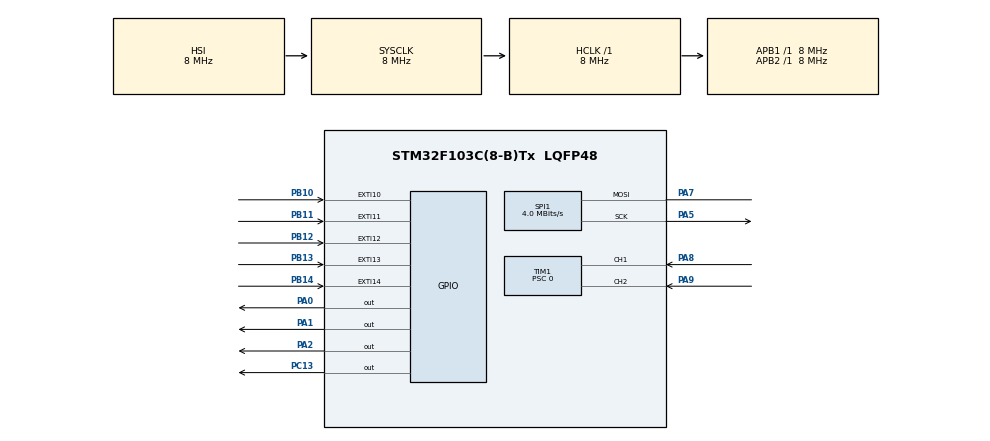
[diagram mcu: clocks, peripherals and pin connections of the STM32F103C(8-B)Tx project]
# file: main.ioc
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Mcu.Family=STM32F1
Mcu.Name=STM32F103C(8-B)Tx
Mcu.Package=LQFP48
NVIC.EXTI15_10_IRQn=true\:0\:0\:false\:false\:true\:true
NVIC.PriorityGroup=NVIC_PRIORITYGROUP_4
PA0-WKUP.Signal=GPIO_Output
PA1.GPIO_PuPd=GPIO_PULLUP
PA1.Signal=GPIO_Output
PA13.Mode=Serial_Wire
PA13.Signal=SYS_JTMS-SWDIO
PA14.Mode=Serial_Wire
PA14.Signal=SYS_JTCK-SWCLK
PA2.Signal=GPIO_Output
PA5.Mode=Simplex_Bidirectional_Master
PA5.Signal=SPI1_SCK
PA7.Mode=Simplex_Bidirectional_Master
PA7.Signal=SPI1_MOSI
PA8.GPIO_PuPd=GPIO_PULLUP
PA8.Signal=S_TIM1_CH1
PA9.GPIO_PuPd=GPIO_PULLUP
PA9.Signal=S_TIM1_CH2
PB10.GPIO_PuPd=GPIO_PULLDOWN
PB10.Signal=GPXTI10
PB11.GPIO_PuPd=GPIO_PULLDOWN
PB11.Signal=GPXTI11
PB12.GPIO_PuPd=GPIO_PULLDOWN
PB12.Signal=GPXTI12
PB13.GPIO_PuPd=GPIO_PULLDOWN
PB13.Signal=GPXTI13
PB14.GPIO_PuPd=GPIO_PULLDOWN
PB14.Signal=GPXTI14
PC13-TAMPER-RTC.Signal=GPIO_Output
ProjectManager.HeapSize=0x200
ProjectManager.StackSize=0x400
ProjectManager.TargetToolchain=Makefile
RCC.AHBFreq_Value=8000000
RCC.APB1Freq_Value=8000000
RCC.APB1TimFreq_Value=8000000
RCC.APB2Freq_Value=8000000
RCC.APB2TimFreq_Value=8000000
RCC.HCLKFreq_Value=8000000
RCC.SYSCLKFreq_VALUE=8000000
RCC.USBFreq_Value=8000000
SH.S_TIM1_CH1.0=TIM1_CH1,Encoder_Interface
SH.S_TIM1_CH2.0=TIM1_CH2,Encoder_Interface
SPI1.CalculateBaudRate=4.0 MBits/s
SPI1.Direction=SPI_DIRECTION_1LINE
SPI1.Mode=SPI_MODE_MASTER
SPI1.VirtualType=VM_MASTER
TIM1.ClockDivision=TIM_CLOCKDIVISION_DIV1
TIM1.CounterMode=TIM_COUNTERMODE_UP
TIM1.EncoderMode=TIM_ENCODERMODE_TI1
TIM1.IC1Filter=0
TIM1.IC2Filter=0
TIM1.Period=65535
TIM1.Prescaler=0
board=stm32-rotary-encoder

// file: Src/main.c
/* USER CODE BEGIN Header */
/**
  ******************************************************************************
  * @file           : main.c
  * @brief          : Main program body
  ******************************************************************************
  ** This notice applies to any and all portions of this file
  * that are not between comment pairs USER CODE BEGIN and
  * USER CODE END. Other portions of this file, whether
  * inserted by the user or by software development tools
  * are owned by their respective copyright owners.
  *
  * COPYRIGHT(c) 2020 STMicroelectronics
  *
  * Redistribution and use in source and binary forms, with or without modification,
  * are permitted provided that the following conditions are met:
  *   1. Redistributions of source code must retain the above copyright notice,
  *      this list of conditions and the following disclaimer.
  *   2. Redistributions in binary form must reproduce the above copyright notice,
  *      this list of conditions and the following disclaimer in the documentation
  *      and/or other materials provided with the distribution.
  *   3. Neither the name of STMicroelectronics nor the names of its contributors
  *      may be used to endorse or promote products derived from this software
  *      without specific prior written permission.
  *
  * THIS SOFTWARE IS PROVIDED BY THE COPYRIGHT HOLDERS AND CONTRIBUTORS "AS IS"
  * AND ANY EXPRESS OR IMPLIED WARRANTIES, INCLUDING, BUT NOT LIMITED TO, THE
  * IMPLIED WARRANTIES OF MERCHANTABILITY AND FITNESS FOR A PARTICULAR PURPOSE ARE
  * DISCLAIMED. IN NO EVENT SHALL THE COPYRIGHT HOLDER OR CONTRIBUTORS BE LIABLE
  * FOR ANY DIRECT, INDIRECT, INCIDENTAL, SPECIAL, EXEMPLARY, OR CONSEQUENTIAL
  * DAMAGES (INCLUDING, BUT NOT LIMITED TO, PROCUREMENT OF SUBSTITUTE GOODS OR
  * SERVICES; LOSS OF USE, DATA, OR PROFITS; OR BUSINESS INTERRUPTION) HOWEVER
  * CAUSED AND ON ANY THEORY OF LIABILITY, WHETHER IN CONTRACT, STRICT LIABILITY,
  * OR TORT (INCLUDING NEGLIGENCE OR OTHERWISE) ARISING IN ANY WAY OUT OF THE USE
  * OF THIS SOFTWARE, EVEN IF ADVISED OF THE POSSIBILITY OF SUCH DAMAGE.
  *
  ******************************************************************************
  */
/* USER CODE END Header */

#include "main.h"

/* USER CODE BEGIN Includes */
#include "st7735.h"
/* USER CODE END Includes */

SPI_HandleTypeDef hspi1;

TIM_HandleTypeDef htim1;

/* USER CODE BEGIN PV */
/* Private variables ---------------------------------------------------------*/

/* USER CODE END PV */

void SystemClock_Config(void);
static void MX_GPIO_Init(void);
static void MX_SPI1_Init(void);
static void MX_TIM1_Init(void);
/* USER CODE BEGIN PFP */
/* Private function prototypes -----------------------------------------------*/

/* USER CODE END PFP */

/* USER CODE BEGIN 0 */

extern volatile uint8_t buttonPressed[5];
int32_t prevCounter = 0;

void init() {
    ST7735_Init();
    ST7735_FillScreen(ST7735_BLACK);
	ST7735_WriteString(0, 26*0, "--------", Font_16x26, ST7735_RED, ST7735_BLACK);
	ST7735_WriteString(0, 26*1, "??????", Font_16x26, ST7735_GREEN, ST7735_BLACK);
	HAL_TIM_Encoder_Start(&htim1, TIM_CHANNEL_ALL);
}

void loop() {
    // Thats annoying
    // HAL_GPIO_TogglePin(GPIOC, GPIO_PIN_13);

	int currCounter = __HAL_TIM_GET_COUNTER(&htim1);
	currCounter = 32767 - ((currCounter-1) & 0xFFFF) / 2;
	if(currCounter != prevCounter) {
		char buff[16];
		snprintf(buff, sizeof(buff), "%06d", currCounter);
		ST7735_WriteString(0, 26*1, buff, Font_16x26, ST7735_GREEN, ST7735_BLACK);
		prevCounter = currCounter;
	}

	uint8_t buttonNumber = 0;
	while(buttonNumber < sizeof(buttonPressed)/sizeof(buttonPressed[0])) {
		if(buttonPressed[buttonNumber]) {
			buttonPressed[buttonNumber] = 0;
			char buff[16];
			snprintf(buff, sizeof(buff), "BUTTON %d", buttonNumber);
			ST7735_WriteString(0, 26*0, buff, Font_16x26, ST7735_RED, ST7735_BLACK);
		}
		buttonNumber++;
	}

    HAL_Delay(100);
}

/* USER CODE END 0 */

int main(void)
{

  /* MCU Configuration--------------------------------------------------------*/

  /* Reset of all peripherals, Initializes the Flash interface and the Systick. */
  HAL_Init();

  /* Configure the system clock */
  SystemClock_Config();

  /* Initialize all configured peripherals */
  MX_GPIO_Init();
  MX_SPI1_Init();
  MX_TIM1_Init();
  /* USER CODE BEGIN 2 */
  init();
  /* USER CODE END 2 */

  /* Infinite loop */
  /* USER CODE BEGIN WHILE */
  while (1)
  {
    loop();
    /* USER CODE END WHILE */

  }
}

void SystemClock_Config(void)
{
  RCC_OscInitTypeDef RCC_OscInitStruct = {0};
  RCC_ClkInitTypeDef RCC_ClkInitStruct = {0};

  /**Initializes the CPU, AHB and APB busses clocks
  */
  RCC_OscInitStruct.OscillatorType = RCC_OSCILLATORTYPE_HSI;
  RCC_OscInitStruct.HSIState = RCC_HSI_ON;
  RCC_OscInitStruct.HSICalibrationValue = RCC_HSICALIBRATION_DEFAULT;
  RCC_OscInitStruct.PLL.PLLState = RCC_PLL_NONE;
  if (HAL_RCC_OscConfig(&RCC_OscInitStruct) != HAL_OK)
  {
    Error_Handler();
  }
  /**Initializes the CPU, AHB and APB busses clocks
  */
  RCC_ClkInitStruct.ClockType = RCC_CLOCKTYPE_HCLK|RCC_CLOCKTYPE_SYSCLK
                              |RCC_CLOCKTYPE_PCLK1|RCC_CLOCKTYPE_PCLK2;
  RCC_ClkInitStruct.SYSCLKSource = RCC_SYSCLKSOURCE_HSI;
  RCC_ClkInitStruct.AHBCLKDivider = RCC_SYSCLK_DIV1;
  RCC_ClkInitStruct.APB1CLKDivider = RCC_HCLK_DIV1;
  RCC_ClkInitStruct.APB2CLKDivider = RCC_HCLK_DIV1;

  if (HAL_RCC_ClockConfig(&RCC_ClkInitStruct, FLASH_LATENCY_0) != HAL_OK)
  {
    Error_Handler();
  }
}

static void MX_SPI1_Init(void)
{

  /* SPI1 parameter configuration*/
  hspi1.Instance = SPI1;
  hspi1.Init.Mode = SPI_MODE_MASTER;
  hspi1.Init.Direction = SPI_DIRECTION_1LINE;
  hspi1.Init.DataSize = SPI_DATASIZE_8BIT;
  hspi1.Init.CLKPolarity = SPI_POLARITY_LOW;
  hspi1.Init.CLKPhase = SPI_PHASE_1EDGE;
  hspi1.Init.NSS = SPI_NSS_SOFT;
  hspi1.Init.BaudRatePrescaler = SPI_BAUDRATEPRESCALER_2;
  hspi1.Init.FirstBit = SPI_FIRSTBIT_MSB;
  hspi1.Init.TIMode = SPI_TIMODE_DISABLE;
  hspi1.Init.CRCCalculation = SPI_CRCCALCULATION_DISABLE;
  hspi1.Init.CRCPolynomial = 10;
  if (HAL_SPI_Init(&hspi1) != HAL_OK)
  {
    Error_Handler();
  }

}

static void MX_TIM1_Init(void)
{

  TIM_Encoder_InitTypeDef sConfig = {0};
  TIM_MasterConfigTypeDef sMasterConfig = {0};

  htim1.Instance = TIM1;
  htim1.Init.Prescaler = 0;
  htim1.Init.CounterMode = TIM_COUNTERMODE_UP;
  htim1.Init.Period = 65535;
  htim1.Init.ClockDivision = TIM_CLOCKDIVISION_DIV1;
  htim1.Init.RepetitionCounter = 0;
  htim1.Init.AutoReloadPreload = TIM_AUTORELOAD_PRELOAD_DISABLE;
  sConfig.EncoderMode = TIM_ENCODERMODE_TI1;
  sConfig.IC1Polarity = TIM_ICPOLARITY_RISING;
  sConfig.IC1Selection = TIM_ICSELECTION_DIRECTTI;
  sConfig.IC1Prescaler = TIM_ICPSC_DIV1;
  sConfig.IC1Filter = 0;
  sConfig.IC2Polarity = TIM_ICPOLARITY_RISING;
  sConfig.IC2Selection = TIM_ICSELECTION_DIRECTTI;
  sConfig.IC2Prescaler = TIM_ICPSC_DIV1;
  sConfig.IC2Filter = 0;
  if (HAL_TIM_Encoder_Init(&htim1, &sConfig) != HAL_OK)
  {
    Error_Handler();
  }
  sMasterConfig.MasterOutputTrigger = TIM_TRGO_RESET;
  sMasterConfig.MasterSlaveMode = TIM_MASTERSLAVEMODE_DISABLE;
  if (HAL_TIMEx_MasterConfigSynchronization(&htim1, &sMasterConfig) != HAL_OK)
  {
    Error_Handler();
  }

}

static void MX_GPIO_Init(void)
{
  GPIO_InitTypeDef GPIO_InitStruct = {0};

  /* GPIO Ports Clock Enable */
  __HAL_RCC_GPIOC_CLK_ENABLE();
  __HAL_RCC_GPIOA_CLK_ENABLE();
  __HAL_RCC_GPIOB_CLK_ENABLE();

  /*Configure GPIO pin Output Level */
  HAL_GPIO_WritePin(GPIOC, GPIO_PIN_13, GPIO_PIN_RESET);

  /*Configure GPIO pin Output Level */
  HAL_GPIO_WritePin(GPIOA, GPIO_PIN_0|GPIO_PIN_1|GPIO_PIN_2, GPIO_PIN_RESET);

  /*Configure GPIO pin : PC13 */
  GPIO_InitStruct.Pin = GPIO_PIN_13;
  GPIO_InitStruct.Mode = GPIO_MODE_OUTPUT_PP;
  GPIO_InitStruct.Pull = GPIO_NOPULL;
  GPIO_InitStruct.Speed = GPIO_SPEED_FREQ_LOW;
  HAL_GPIO_Init(GPIOC, &GPIO_InitStruct);

  /*Configure GPIO pins : PA0 PA2 */
  GPIO_InitStruct.Pin = GPIO_PIN_0|GPIO_PIN_2;
  GPIO_InitStruct.Mode = GPIO_MODE_OUTPUT_PP;
  GPIO_InitStruct.Pull = GPIO_NOPULL;
  GPIO_InitStruct.Speed = GPIO_SPEED_FREQ_LOW;
  HAL_GPIO_Init(GPIOA, &GPIO_InitStruct);

  /*Configure GPIO pin : PA1 */
  GPIO_InitStruct.Pin = GPIO_PIN_1;
  GPIO_InitStruct.Mode = GPIO_MODE_OUTPUT_PP;
  GPIO_InitStruct.Pull = GPIO_PULLUP;
  GPIO_InitStruct.Speed = GPIO_SPEED_FREQ_LOW;
  HAL_GPIO_Init(GPIOA, &GPIO_InitStruct);

  /*Configure GPIO pins : PB10 PB11 PB12 PB13
                           PB14 */
  GPIO_InitStruct.Pin = GPIO_PIN_10|GPIO_PIN_11|GPIO_PIN_12|GPIO_PIN_13
                          |GPIO_PIN_14;
  GPIO_InitStruct.Mode = GPIO_MODE_IT_RISING;
  GPIO_InitStruct.Pull = GPIO_PULLDOWN;
  HAL_GPIO_Init(GPIOB, &GPIO_InitStruct);

  /* EXTI interrupt init*/
  HAL_NVIC_SetPriority(EXTI15_10_IRQn, 0, 0);
  HAL_NVIC_EnableIRQ(EXTI15_10_IRQn);

}

void Error_Handler(void)
{
  while(1)
  {
  }
}

/************************ (C) COPYRIGHT STMicroelectronics *****END OF FILE****/
